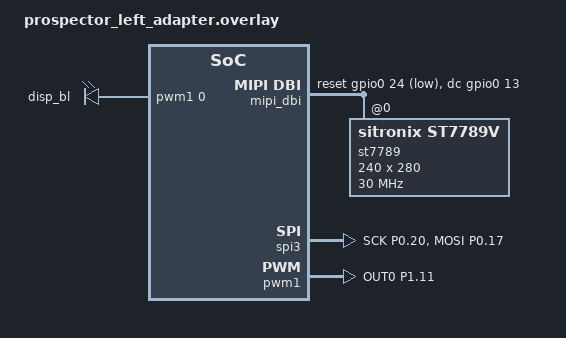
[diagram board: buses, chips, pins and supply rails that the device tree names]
/*
 * Prospector ST7789 display wiring for the Sofle left controller.
 *
 * P0.24 is used by the display reset line and P1.11 by its backlight;
 * sofle_left.overlay moves the affected matrix columns to P0.22 and P1.13.
 */

&pinctrl {
    prospector_spi3_default: prospector_spi3_default {
        group1 {
            psels = <NRF_PSEL(SPIM_SCK, 0, 20)>,
                    <NRF_PSEL(SPIM_MOSI, 0, 17)>;
        };
    };

    prospector_spi3_sleep: prospector_spi3_sleep {
        group1 {
            psels = <NRF_PSEL(SPIM_SCK, 0, 20)>,
                    <NRF_PSEL(SPIM_MOSI, 0, 17)>;
            low-power-enable;
        };
    };

    prospector_pwm1_default: prospector_pwm1_default {
        group1 {
            psels = <NRF_PSEL(PWM_OUT0, 1, 11)>;
            nordic,invert;
        };
    };

    prospector_pwm1_sleep: prospector_pwm1_sleep {
        group1 {
            psels = <NRF_PSEL(PWM_OUT0, 1, 11)>;
            low-power-enable;
        };
    };

};

prospector_disp_spi: &spi3 {
    status = "okay";
    pinctrl-0 = <&prospector_spi3_default>;
    pinctrl-1 = <&prospector_spi3_sleep>;
    pinctrl-names = "default", "sleep";
    cs-gpios = <&gpio0 6 GPIO_ACTIVE_LOW>;
};

&pro_micro_i2c {
    status = "disabled";
};

&oled {
    status = "disabled";
};

/ {
    /* nice!nano v2 normally uses P0.13 for external-power control. */
    /delete-node/ EXT_POWER;

    pwmleds {
        compatible = "pwm-leds";

        disp_bl: pwm_led_1 {
            pwms = <&pwm1 0 PWM_MSEC(1) PWM_POLARITY_NORMAL>;
        };
    };

    mipi_dbi {
        compatible = "zephyr,mipi-dbi-spi";
        spi-dev = <&spi3>;
        dc-gpios = <&gpio0 13 GPIO_ACTIVE_HIGH>;
        reset-gpios = <&gpio0 24 GPIO_ACTIVE_LOW>;
        write-only;
        #address-cells = <1>;
        #size-cells = <0>;

        st7789: st7789v@0 {
            compatible = "sitronix,st7789v";
            mipi-max-frequency = <30000000>;
            mipi-mode = "MIPI_DBI_MODE_SPI_4WIRE";
            reg = <0>;
            width = <240>;
            height = <280>;
            /*
             * Prospector first applies its built-in 270-degree orientation,
             * then src/prospector_portrait.c applies the final 180-degree
             * orientation. The ST7789 driver mutates these offsets on each
             * orientation change, so use the swapped initial values here to
             * make the final 180-degree window land at x=0, y=20.
             */
            x-offset = <20>;
            y-offset = <0>;
            vcom = <0x19>;
            gctrl = <0x35>;
            vrhs = <0x12>;
            vdvs = <0x20>;
            mdac = <0x00>;
            gamma = <0x01>;
            colmod = <0x05>;
            lcm = <0x2c>;
            porch-param = [ 0c 0c 00 33 33 ];
            cmd2en-param = [ 5a 69 02 01 ];
            pwctrl1-param = [ a4 a1 ];
            pvgam-param = [ d0 04 0d 11 13 2b 3f 54 4c 18 0d 0b 1f 23 ];
            nvgam-param = [ d0 04 0c 11 13 2c 3f 44 51 2f 1f 1f 20 23 ];
            ram-param = [ 00 f0 ];
            rgb-param = [ cd 08 14 ];
        };
    };
};

&pwm1 {
    status = "okay";
    pinctrl-0 = <&prospector_pwm1_default>;
    pinctrl-1 = <&prospector_pwm1_sleep>;
    pinctrl-names = "default", "sleep";
};
